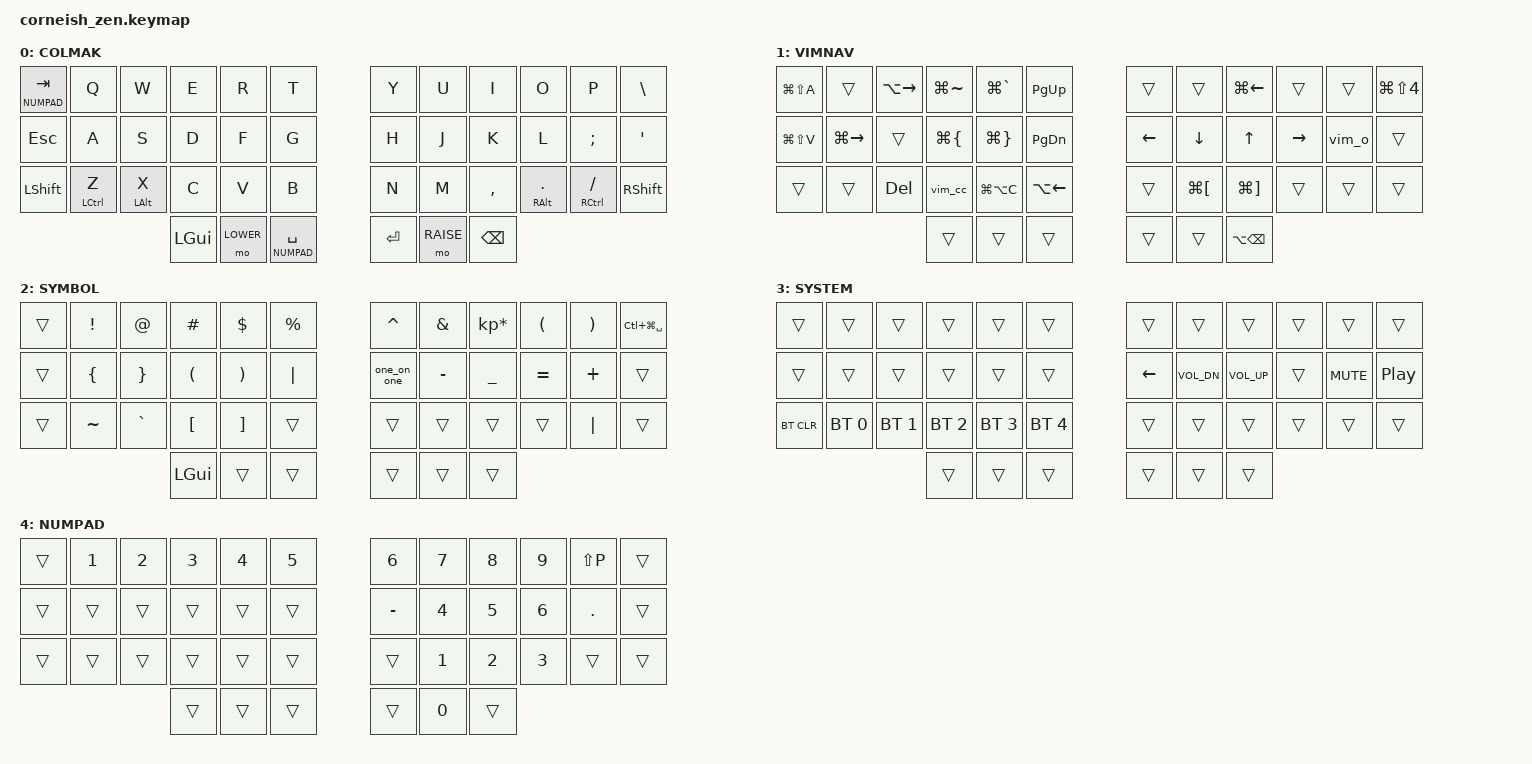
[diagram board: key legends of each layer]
#include <behaviors.dtsi>
#include <dt-bindings/zmk/keys.h>
#include <dt-bindings/zmk/bt.h>

#define DEFAULT 0
#define LOWER   1
#define RAISE   2
#define SYSTEM  3
#define NUMPAD  4

/ {
  chosen {
    zmk,matrix_transform = &default_transform;
    //zmk,matrix_transform = &five_column_transform;
  };
};

/*                    KEY POSITIONS
  ╭────────────────────────╮ ╭────────────────────────╮
  │  0   1   2   3   4   5 │ │  6   7   8   9  10  11 │
  │ 12  13  14  15  16  17 │ │ 18  19  20  21  22  23 │
  │ 24  25  26  27  28  29 │ │ 30  31  32  33  34  35 │
  ╰───────────╮ 36  37  38 │ │ 39  40  41 ╭───────────╯
              ╰────────────╯ ╰────────────╯            */

/ {
    combos {
        compatible = "zmk,combos";
        combo_magnet_screen_left {
            timeout-ms = <20>;
            key-positions = <9 10>;
            bindings = <&kp LC(LA(LG(LEFT)))>;
        };
        combo_magnet_screen_right {
            timeout-ms = <20>;
            key-positions = <10 11>;
            bindings = <&kp LC(LA(LG(RIGHT)))>;
        };
    };
};

/ {
  conditional_layers {
    compatible = "zmk,conditional-layers";
    tri_layer {
      if-layers = <LOWER RAISE>;
      then-layer = <SYSTEM>;
      };
  };
};

/ {
  macros {
    ZMK_MACRO(vim_o,  bindings = <&kp LG(RIGHT) &kp ENTER>;)
    ZMK_MACRO(vim_cc, bindings = <&kp LG(LEFT) &kp LS(LG(RIGHT)) &kp LG(X)>;)
    ZMK_MACRO(one_on_one, bindings = <&macro_tap_time 0>, <&kp N1 &kp LS(P) &kp N1>;) // "1:1" is awkward. Using "P" instead of ":" due to Colemak translation on mac
  };
};

/ {
  behaviors {
    bmt: balanced_mod_tap {
      compatible = "zmk,behavior-hold-tap";
      label = "BALANCED_MOD_TAP";
      #binding-cells = <2>;
      tapping-term-ms = <200>;
      quick-tap-ms = <0>;
      flavor = "balanced";
      bindings = <&kp>, <&kp>;
    };
  };

  keymap {
    compatible = "zmk,keymap";

    default_layer {
      label = "COLMAK"; // I'm translating on the host, but I don't want to stare at the QWERTY label
// ╭──────┬─────┬─────┬─────┬─────┬─────╮   ╭─────┬─────┬─────┬──────┬──────┬─────╮
// │  TAB │  Q  │  W  │  F  │  P  │  G  │   │  J  │  L  │  U  │  Y   │  :   │  \  │
// │  ESC │  A  │  R  │  S  │  T  │  D  │   │  H  │  N  │  E  │  I   │  O   │  '  │
// │   ⇧  │ ^Z  │ ⌥X  │  C  │  V  │  B  │   │  K  │  M  │  ,  │  ⌥.  │  ^/  │  ⇧  │
// ╰──────┴─────┴─────┤ GUI │ LWR │ SPC │   │ ENT │ RSE │ <Bs ├──────┴──────┴─────╯
//                    ╰─────┴─────┴─────╯   ╰─────┴─────┴─────╯
      bindings = <
   &lt NUMPAD TAB &kp Q        &kp W       &kp E &kp R &kp T   &kp Y &kp U  &kp I     &kp O         &kp P           &kp BSLH
   &kp ESC        &kp A        &kp S       &kp D &kp F &kp G   &kp H &kp J  &kp K     &kp L         &kp SEMI        &kp SQT
   &kp LSHFT      &bmt LCTRL Z &bmt LALT X &kp C &kp V &kp B   &kp N &kp M  &kp COMMA &bmt RALT DOT &bmt RCTRL FSLH &kp RSHFT
                         &kp LGUI &mo LOWER &lt NUMPAD SPACE   &kp RET &mo RAISE &kp BSPC
      >;
    };

    lower_layer {
      label = "VIMNAV";
// ╭──────┬─────┬─────┬─────┬─────┬─────╮   ╭─────┬─────┬─────┬─────┬─────┬──────╮
// │ ZAud │     │  w  │  <~ │  `> │ PgUp│   │     │     │  <- │     │     │ Shot │
// │ ZVid │ ->  │     │  <{ │  }> │ PgDn│   │ LFT │ DWN │  UP │ RGT │  o  │      │
// │      │     │  x  │  cc │ AlPt│  b  │   │     │  <[ │  ]> │     │     │      │
// ╰──────┴─────┴─────┤     │     │ ### │   │     │     │ BsW ├─────┴─────┴──────╯
//                    ╰─────┴─────┴─────╯   ╰─────┴─────┴─────╯
      bindings = <
   &kp LG(LS(A)) &trans        &kp LA(RIGHT) &kp LG(TILDE) &kp LG(GRAVE) &kp PG_UP      &trans       &trans       &kp LG(LEFT) &trans    &trans &kp LG(LS(N4))
   &kp LG(LS(V)) &kp LG(RIGHT) &trans        &kp LG(LBRC)  &kp LG(RBRC)  &kp PG_DN      &kp LEFT     &kp DOWN     &kp UP       &kp RIGHT &vim_o &trans
   &trans        &trans        &kp DEL       &vim_cc       &kp LG(LA(C)) &kp LA(LEFT)   &trans       &kp LG(LBKT) &kp LG(RBKT) &trans    &trans &trans
                                             &trans        &trans        &trans         &trans       &trans       &kp LA(BSPC)
      >;
    };

    raise_layer {
      label = "SYMBOL";
// ╭──────┬─────┬─────┬─────┬─────┬─────╮   ╭─────┬─────┬─────┬─────┬─────┬──────╮
// │      │  !  │  @  │  #  │  $  │  %  │   │  ^  │  &  │  *  │  (  │  )  │ Emoj │
// │      │  {  │  }  │  (  │  )  │ '|' │   │ 1:1 │  -  │  _  │  =  │  +  │      │
// │      │  ~  │  `  │  [  │  ]  │     │   │     │     │     │     │     │      │
// ╰──────┴─────┴─────┤     │     │     │   │     │ ### │     ├─────┴─────┴──────╯
//                    ╰─────┴─────┴─────╯   ╰─────┴─────┴─────╯
      bindings = <
   &trans &kp EXCL  &kp AT    &kp HASH &kp DLLR &kp PRCNT   &kp CARET   &kp AMPS  &kp KP_MULTIPLY &kp LPAR  &kp RPAR &kp LC(LG(SPACE))
   &trans &kp LBRC  &kp RBRC  &kp LPAR &kp RPAR &kp PIPE    &one_on_one &kp MINUS &kp UNDER       &kp EQUAL &kp PLUS &trans
   &trans &kp TILDE &kp GRAVE &kp LBKT &kp RBKT &trans      &trans      &trans    &trans          &trans    &kp PIPE &trans
                              &kp LGUI &trans   &trans      &trans      &trans    &trans
      >;
    };

    system_layer {
      label = "SYSTEM";
// ╭──────┬─────┬─────┬─────┬─────┬─────╮   ╭─────┬─────┬─────┬─────┬─────┬──────╮
// │      │     │     │     │     │     │   │     │     │     │     │     │      │
// │      │     │     │     │     │     │   │     │ VoUp│ VoDn│     │ Mute│ Play │
// │ BTCLR│ BT1 │ BT2 │ BT3 │ BT4 │ BT5 │   │     │     │     │     │     │      │
// ╰──────┴─────┴─────┤     │ ### │     │   │     │ ### │     ├─────┴─────┴──────╯
//                    ╰─────┴─────┴─────╯   ╰─────┴─────┴─────╯
      bindings = <
   &trans     &trans       &trans       &trans       &trans       &trans         &trans   &trans   &trans &trans    &trans &trans
   &trans     &trans       &trans       &trans       &trans       &trans         &kp LEFT &kp C_VOL_DN &kp C_VOL_UP &trans &kp K_MUTE &kp C_PLAY_PAUSE
   &bt BT_CLR &bt BT_SEL 0 &bt BT_SEL 1 &bt BT_SEL 2 &bt BT_SEL 3 &bt BT_SEL 4   &trans   &trans   &trans &trans    &trans &trans
                                        &trans       &trans       &trans         &trans   &trans   &trans
      >;
    };

    numpad_layer {
      label = "NUMPAD";
// ╭──────┬─────┬─────┬─────┬─────┬─────╮   ╭─────┬─────┬─────┬─────┬─────┬──────╮
// │      │  1  │  2  │  3  │  4  │  5  │   │  6  │  7  │  8  │  9  │  :  │      │
// │      │     │     │     │     │     │   │  -  │  4  │  5  │  6  │  .  │      │
// │      │     │     │     │     │     │   │     │  1  │  2  │  3  │     │      │
// ╰──────┴─────┴─────┤     │     │     │   │     │  0  │     ├─────┴─────┴──────╯
//                    ╰─────┴─────┴─────╯   ╰─────┴─────┴─────╯
      bindings = <
   &trans &kp N1       &kp N2       &kp N3       &kp N4       &kp N5         &kp N6    &kp N7   &kp N8 &kp N9    &kp LS(P) &trans
   &trans &trans       &trans       &trans       &trans       &trans         &kp MINUS &kp N4   &kp N5 &kp N6    &kp DOT   &trans
   &trans &trans       &trans       &trans       &trans       &trans         &trans    &kp N1   &kp N2 &kp N3    &trans    &trans
                                    &trans       &trans       &trans         &trans    &kp N0   &trans
      >;
    };
  };
};
